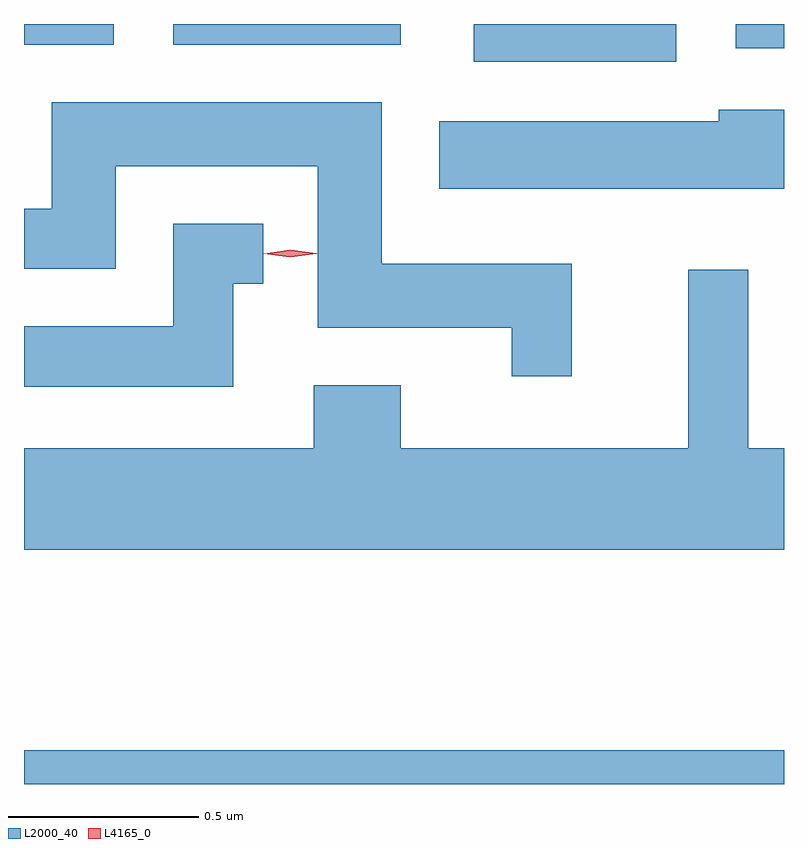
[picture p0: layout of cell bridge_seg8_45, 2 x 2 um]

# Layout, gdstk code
import gdstk
lib = gdstk.Library(unit=1e-6, precision=1e-09)
def R(c, l, rs):  # rectangles x0, y0, x1, y1
    for r in rs: c.add(gdstk.rectangle(r[:2], r[2:], *l))
def P(c, l, *ps):  # polygons
    for p in ps: c.add(gdstk.Polygon(p, *l))
L2000_40 = (2000, 40)
L4165_0 = (4165, 0)

bridge_seg8_45 = lib.new_cell('bridge_seg8_45')
R(bridge_seg8_45, L2000_40, [(1597.978,1891.3,1599.978,1891.389), (1599.161,1893.201,1599.694,1893.3), (1599.851,1893.236,1599.978,1893.3), (1597.978,1893.246,1598.214,1893.3), (1598.371,1893.246,1598.969,1893.3)])
P(bridge_seg8_45, L2000_40, [(1599.419,1892.669),(1598.919,1892.669),(1598.919,1893.094),(1598.051,1893.094),(1598.051,1892.814),(1597.978,1892.814),(1597.978,1892.656),(1598.219,1892.656),(1598.219,1892.926),(1598.751,1892.926),(1598.751,1892.501),(1599.261,1892.501),(1599.261,1892.373),(1599.419,1892.373)],
  [(1599.978,1893.074),(1599.806,1893.074),(1599.806,1893.044),(1599.071,1893.044),(1599.071,1892.866),(1599.978,1892.866)],
  [(1598.529,1892.616),(1598.608,1892.616),(1598.608,1892.774),(1598.371,1892.774),(1598.371,1892.504),(1597.978,1892.504),(1597.978,1892.346),(1598.529,1892.346)],
  [(1599.978,1892.184),(1599.884,1892.184),(1599.884,1892.653),(1599.726,1892.653),(1599.726,1892.184),(1598.969,1892.184),(1598.969,1892.349),(1598.741,1892.349),(1598.741,1892.184),(1597.978,1892.184),(1597.978,1891.916),(1599.978,1891.916)])
P(bridge_seg8_45, L4165_0, [(1598.678,1892.686),(1598.609,1892.695),(1598.609,1892.696),(1598.609,1892.696),(1598.678,1892.706),(1598.748,1892.697),(1598.748,1892.696),(1598.748,1892.696)])

lib.write_gds('bridge_seg8_45.gds')
